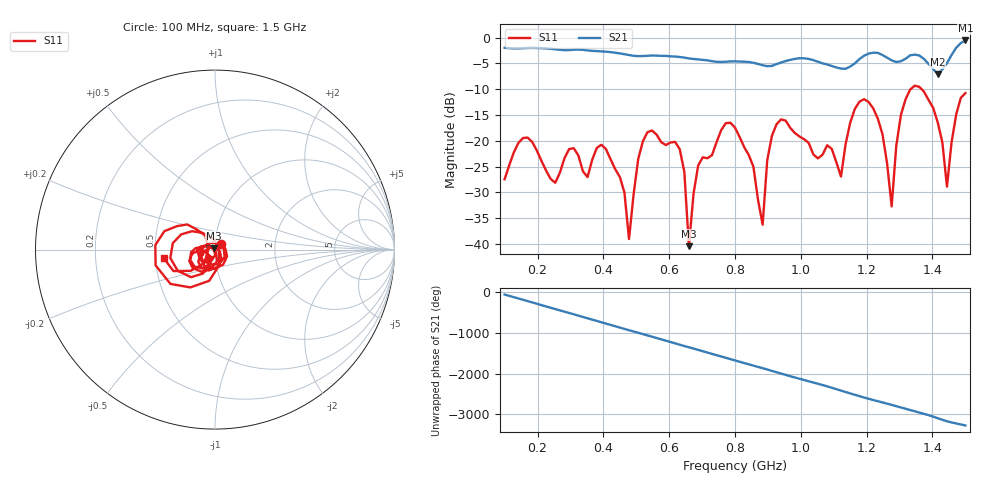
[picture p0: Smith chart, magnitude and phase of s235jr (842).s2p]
! NanoVNA-App
! Date: 2025-09-25 15:10:43
! Start: 100MHz Stop: 1,5GHz Points: 101
! S-Parameter data: F S11 S21 S12 S22
# Hz S RI R 50
!  Frequency  S11_Real  S11_Imag  S21_Real  S21_Imag  S12_Real  S12_Imag  S22_Real  S22_Imag
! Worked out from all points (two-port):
!   101 points, 100 MHz to 1.5 GHz, reference 50 ohm
!   highest |S21| = -0.54 dB at 1.5 GHz (marker M1); lowest = -7.1 dB at 1.416 GHz (marker M2)
!   |S21| within 3 dB of the highest: start of sweep to 498.1 MHz; 527.5 MHz to 591.4 MHz (63.87 MHz wide, 11.4 % of centre) (the widest 2 of 5)
!   lowest |S11| = -40.4 dB at 660 MHz (marker M3), VSWR 1.02, Z = 49.3 + j0.605 ohm
!   |S11| at or under -10 dB: start of sweep to 1.334 GHz; 1.367 GHz to end of sweep
!   S12 and S22 are empty: the file has one direction only
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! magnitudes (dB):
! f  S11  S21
! 100 MHz  -27.5  -2.0
! 156 MHz  -19.5  -2.0
! 338 MHz  -25.9  -2.4
! 408 MHz  -21.6  -2.7
! 478 MHz  -39.1  -3.4
! 520 MHz  -20.1  -3.6
! 576 MHz  -20.3  -3.5
! 632 MHz  -21.6  -3.7
! 660 MHz  -40.4  -4.0
! 688 MHz  -24.8  -4.2
! 800 MHz  -17.4  -4.6
! 884 MHz  -36.3  -5.3
! 926 MHz  -16.8  -5.1
! 1.038 GHz  -22.6  -4.4
! 1.122 GHz  -26.9  -6.0
! 1.206 GHz  -12.5  -3.1
! 1.276 GHz  -32.7  -4.4
! 1.304 GHz  -15.0  -4.6
! 1.332 GHz  -10.1  -3.4
! 1.416 GHz  -16.4  -7.1
! 1.444 GHz  -28.9  -5.0
! 1.5 GHz  -10.8  -0.5
